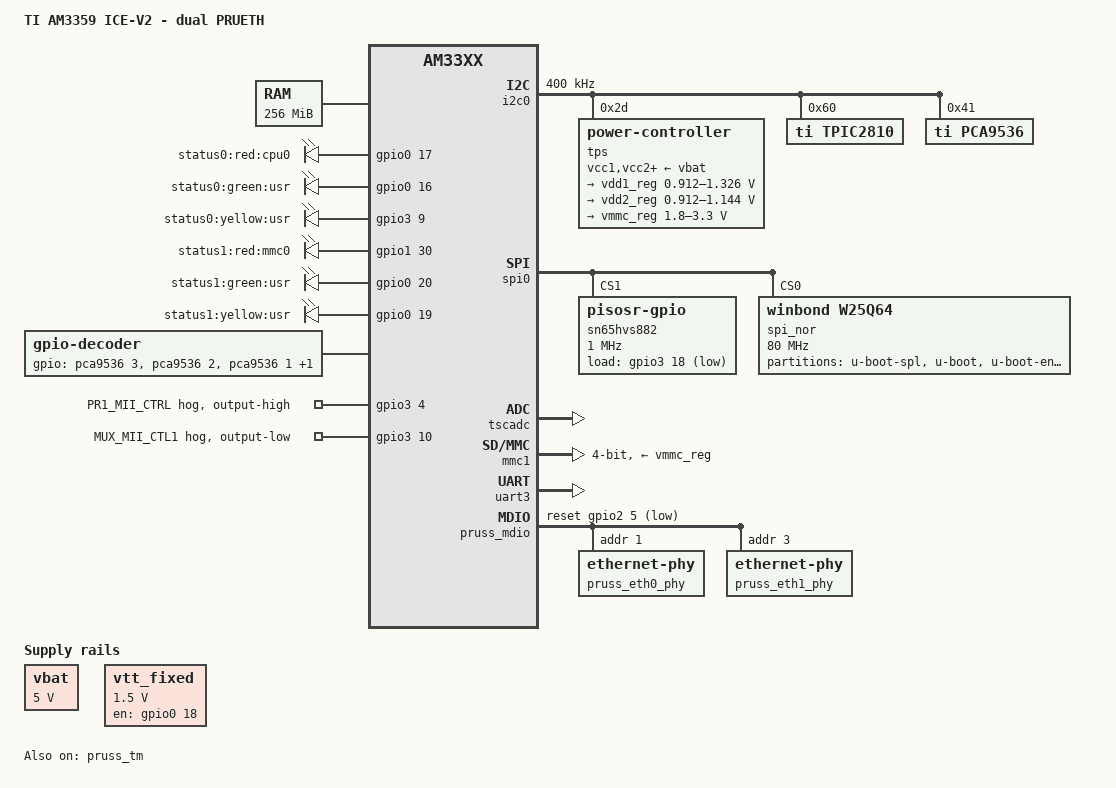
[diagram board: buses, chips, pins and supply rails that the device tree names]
// SPDX-License-Identifier: GPL-2.0

/*
 * Copyright (C) 2018 Texas Instruments Incorporated - http://www.ti.com/
 */

/*
 * AM335x ICE V2 board
 * http://www.ti.com/tool/tmdsice3359
 */

/dts-v1/;

#include "am33xx.dtsi"

/ {
	model = "TI AM3359 ICE-V2 - dual PRUETH";
	compatible = "ti,am3359-icev2", "ti,am33xx";

	memory@80000000 {
		device_type = "memory";
		reg = <0x80000000 0x10000000>; /* 256 MB */
	};

	chosen {
		stdout-path = &uart3;
	};

	vbat: fixedregulator0 {
		compatible = "regulator-fixed";
		regulator-name = "vbat";
		regulator-min-microvolt = <5000000>;
		regulator-max-microvolt = <5000000>;
		regulator-boot-on;
	};

	vtt_fixed: fixedregulator1 {
		compatible = "regulator-fixed";
		regulator-name = "vtt";
		regulator-min-microvolt = <1500000>;
		regulator-max-microvolt = <1500000>;
		gpio = <&gpio0 18 GPIO_ACTIVE_HIGH>;
		regulator-always-on;
		regulator-boot-on;
		enable-active-high;
	};

	/* Tricolor status LEDs */
	leds1 {
		compatible = "gpio-leds";
		pinctrl-names = "default";
		pinctrl-0 = <&user_leds>;

		led0 {
			label = "status0:red:cpu0";
			gpios = <&gpio0 17 GPIO_ACTIVE_HIGH>;
			default-state = "off";
			linux,default-trigger = "cpu0";
		};

		led1 {
			label = "status0:green:usr";
			gpios = <&gpio0 16 GPIO_ACTIVE_HIGH>;
			default-state = "off";
		};

		led2 {
			label = "status0:yellow:usr";
			gpios = <&gpio3 9 GPIO_ACTIVE_HIGH>;
			default-state = "off";
		};

		led3 {
			label = "status1:red:mmc0";
			gpios = <&gpio1 30 GPIO_ACTIVE_HIGH>;
			default-state = "off";
			linux,default-trigger = "mmc0";
		};

		led4 {
			label = "status1:green:usr";
			gpios = <&gpio0 20 GPIO_ACTIVE_HIGH>;
			default-state = "off";
		};

		led5 {
			label = "status1:yellow:usr";
			gpios = <&gpio0 19 GPIO_ACTIVE_HIGH>;
			default-state = "off";
		};
	};

	gpio-decoder {
		compatible = "gpio-decoder";
		gpios = <&pca9536 3 GPIO_ACTIVE_HIGH>,
			<&pca9536 2 GPIO_ACTIVE_HIGH>,
			<&pca9536 1 GPIO_ACTIVE_HIGH>,
			<&pca9536 0 GPIO_ACTIVE_HIGH>;
		linux,axis = <0>; /* ABS_X */
		decoder-max-value = <9>;
	};

	/* Dual-MAC Ethernet application node on PRU-ICSS */
	pruss_eth: pruss-eth {
		compatible = "ti,am3359-prueth";
		ti,prus = <&pru0>, <&pru1>;
		sram = <&ocmcram>;
		ti,mii-rt = <&pruss_mii_rt>;
		ti,iep = <&pruss_iep>;
		ti,ecap = <&pruss_ecap>;
		interrupts = <20 2 2>, <21 3 3>;
		interrupt-names = "rx_hp", "rx_lp";
		interrupt-parent = <&pruss_intc>;

		pinctrl-0 = <&pruss_eth_default>;
		pinctrl-names = "default";

		ethernet-ports {
			#address-cells = <1>;
			#size-cells = <0>;
			pruss_emac0: ethernet-port@0 {
				reg = <0>;
				phy-handle = <&pruss_eth0_phy>;
				phy-mode = "mii";
				interrupts = <20 2 2>, <26 6 6>, <23 6 6>;
				interrupt-names = "rx", "emac_ptp_tx",
								"hsr_ptp_tx";
				/* Filled in by bootloader */
				local-mac-address = [00 00 00 00 00 00];
			};

			pruss_emac1: ethernet-port@1 {
				reg = <1>;
				phy-handle = <&pruss_eth1_phy>;
				phy-mode = "mii";
				interrupts = <21 3 3>, <27 9 7>, <24 9 7>;
				interrupt-names = "rx", "emac_ptp_tx",
								"hsr_ptp_tx";
				/* Filled in by bootloader */
				local-mac-address = [00 00 00 00 00 00];
			};
		};
	};
};

&am33xx_pinmux {
    user_leds: user-leds-pins {
		pinctrl-single,pins = <
			/* (J18) gmii1_txd3.gpio0[16] */
			AM33XX_PADCONF(AM335X_PIN_MII1_TXD3, PIN_OUTPUT,
				       MUX_MODE7)
			 /* (K15) gmii1_txd2.gpio0[17] */
			AM33XX_PADCONF(AM335X_PIN_MII1_TXD2, PIN_OUTPUT,
				       MUX_MODE7)
			/* (A15) xdma_event_intr0.gpio0[19] */
			AM33XX_PADCONF(AM335X_PIN_XDMA_EVENT_INTR0, PIN_OUTPUT,
				       MUX_MODE7)
			/* (D14) xdma_event_intr1.gpio0[20] */
			AM33XX_PADCONF(AM335X_PIN_XDMA_EVENT_INTR1, PIN_OUTPUT,
				       MUX_MODE7)
			/* (U9) gpmc_csn1.gpio1[30] */
			AM33XX_PADCONF(AM335X_PIN_GPMC_CSN1, PIN_OUTPUT,
				       MUX_MODE7)
			/* (K18) gmii1_txclk.gpio3[9] */
			AM33XX_PADCONF(AM335X_PIN_MII1_TX_CLK, PIN_OUTPUT,
				       MUX_MODE7)
		>;
	};

	mmc0_pins_default: mmc0-default-pins {
		pinctrl-single,pins = <
			AM33XX_PADCONF(AM335X_PIN_MMC0_DAT3, PIN_INPUT_PULLUP,
				       MUX_MODE0)
			AM33XX_PADCONF(AM335X_PIN_MMC0_DAT2, PIN_INPUT_PULLUP,
				       MUX_MODE0)
			AM33XX_PADCONF(AM335X_PIN_MMC0_DAT1, PIN_INPUT_PULLUP,
				       MUX_MODE0)
			AM33XX_PADCONF(AM335X_PIN_MMC0_DAT0, PIN_INPUT_PULLUP,
				       MUX_MODE0)
			AM33XX_PADCONF(AM335X_PIN_MMC0_CLK, PIN_INPUT_PULLUP,
				       MUX_MODE0)
			AM33XX_PADCONF(AM335X_PIN_MMC0_CMD, PIN_INPUT_PULLUP,
				       MUX_MODE0)
		>;
	};

	i2c0_pins_default: i2c0-default-pins {
		pinctrl-single,pins = <
			AM33XX_PADCONF(AM335X_PIN_I2C0_SDA, PIN_INPUT,
				       MUX_MODE0)
			AM33XX_PADCONF(AM335X_PIN_I2C0_SCL, PIN_INPUT,
				       MUX_MODE0)
		>;
	};

	spi0_pins_default: spi0-default-pins {
		pinctrl-single,pins = <
			AM33XX_PADCONF(AM335X_PIN_SPI0_SCLK, PIN_INPUT_PULLUP,
				       MUX_MODE0)
			AM33XX_PADCONF(AM335X_PIN_SPI0_D0, PIN_INPUT_PULLUP,
				       MUX_MODE0)
			AM33XX_PADCONF(AM335X_PIN_SPI0_D1, PIN_INPUT_PULLUP,
				       MUX_MODE0)
			AM33XX_PADCONF(AM335X_PIN_SPI0_CS0, PIN_INPUT_PULLUP,
				       MUX_MODE0)
			AM33XX_PADCONF(AM335X_PIN_SPI0_CS1, PIN_INPUT_PULLUP,
				       MUX_MODE0)
			/* (B12) mcasp0_aclkr.gpio3[18] */
			AM33XX_PADCONF(AM335X_PIN_MCASP0_ACLKR,
				       PIN_INPUT_PULLUP,
				       MUX_MODE7)
		>;
	};

	uart3_pins_default: uart3-default-pins {
		pinctrl-single,pins = <
			/* (L17) gmii1_rxd3.uart3_rxd */
			AM33XX_PADCONF(AM335X_PIN_MII1_RXD3, PIN_INPUT_PULLUP,
				       MUX_MODE1)
			/* (L16) gmii1_rxd2.uart3_txd */
			AM33XX_PADCONF(AM335X_PIN_MII1_RXD2, PIN_OUTPUT_PULLUP,
				       MUX_MODE1)
		>;
	};

	pruss_mdio_default: pruss_mdio_default {
		pinctrl-single,pins = <
			/* gpmc_clk.pr1_mdio_mdclk */
			AM33XX_PADCONF(0x88c, PIN_OUTPUT, MUX_MODE5)
			/* gpmc_csn3.pr1_mdio_data */
			AM33XX_PADCONF(0x888, PIN_INPUT, MUX_MODE5)
			/* gpmc_ben0_cle.gpio2_5 */
			AM33XX_PADCONF(0x89c, PIN_INPUT_PULLUP, MUX_MODE7)
			/* disable CPSW MDIO */
			/* mdio_data.gpio0_0 */
			AM33XX_PADCONF(0x948, PIN_INPUT_PULLUP, MUX_MODE7)
			/* mdio_clk.gpio0_1 */
			AM33XX_PADCONF(0x94c, PIN_INPUT_PULLUP, MUX_MODE7)
		>;
	};

	pruss_eth_default: pruss_eth_default {
		pinctrl-single,pins = <
			/* dss_data0.pr1_mii_mt0_clk */
			AM33XX_PADCONF(0x8a0, PIN_INPUT,   MUX_MODE2)
			/* dss_data5.pr1_mii0_txd0 */
			AM33XX_PADCONF(0x8b4, PIN_OUTPUT,  MUX_MODE2)
			/* dss_data4.pr1_mii0_txd1 */
			AM33XX_PADCONF(0x8b0, PIN_OUTPUT,  MUX_MODE2)
			/* dss_data3.pr1_mii0_txd2 */
			AM33XX_PADCONF(0x8ac, PIN_OUTPUT,  MUX_MODE2)
			/* dss_data2.pr1_mii0_txd3 */
			AM33XX_PADCONF(0x8a8, PIN_OUTPUT,  MUX_MODE2)
			/* dss_data11.pr1_mii0_rxd0 */
			AM33XX_PADCONF(0x8cc, PIN_INPUT,   MUX_MODE5)
			/* dss_data10.pr1_mii0_rxd1 */
			AM33XX_PADCONF(0x8c8, PIN_INPUT,   MUX_MODE5)
			/* dss_data9.pr1_mii0_rxd2 */
			AM33XX_PADCONF(0x8c4, PIN_INPUT,   MUX_MODE5)
			/* dss_data8.pr1_mii0_rxd3 */
			AM33XX_PADCONF(0x8c0, PIN_INPUT,   MUX_MODE5)
			/* dss_data1.pr1_mii0_txen */
			AM33XX_PADCONF(0x8a4, PIN_OUTPUT,  MUX_MODE2)
			/* dss_data14.pr1_mii_mr0_clk */
			AM33XX_PADCONF(0x8d8, PIN_INPUT,   MUX_MODE5)
			/* dss_data15.pr1_mii0_rxdv */
			AM33XX_PADCONF(0x8dc, PIN_INPUT,   MUX_MODE5)
			/* dss_data13.pr1_mii0_rxer */
			AM33XX_PADCONF(0x8d4, PIN_INPUT,   MUX_MODE5)
			/* dss_data12.pr1_mii0_rxlink */
			AM33XX_PADCONF(0x8d0, PIN_INPUT,   MUX_MODE5)
			/* dss_pclk.pr1_mii0_crs */
			AM33XX_PADCONF(0x8e8, PIN_INPUT,   MUX_MODE2)

			/* gpmc_a0.pr1_mii_mt1_clk */
			AM33XX_PADCONF(0x840, PIN_INPUT,   MUX_MODE5)
			/* gpmc_a4.pr1_mii1_txd0 */
			AM33XX_PADCONF(0x850, PIN_OUTPUT,  MUX_MODE5)
			/* gpmc_a3.pr1_mii1_txd1 */
			AM33XX_PADCONF(0x84c, PIN_OUTPUT,  MUX_MODE5)
			/* gpmc_a2.pr1_mii1_txd2 */
			AM33XX_PADCONF(0x848, PIN_OUTPUT,  MUX_MODE5)
			/* gpmc_a1.pr1_mii1_txd3 */
			AM33XX_PADCONF(0x844, PIN_OUTPUT,  MUX_MODE5)
			/* gpmc_a8.pr1_mii1_rxd0 */
			AM33XX_PADCONF(0x860, PIN_INPUT,   MUX_MODE5)
			/* gpmc_a7.pr1_mii1_rxd1 */
			AM33XX_PADCONF(0x85c, PIN_INPUT,   MUX_MODE5)
			/* gpmc_a6.pr1_mii1_rxd2 */
			AM33XX_PADCONF(0x858, PIN_INPUT,   MUX_MODE5)
			/* gpmc_a5.pr1_mii1_rxd3 */
			AM33XX_PADCONF(0x854, PIN_INPUT,   MUX_MODE5)
			/* gpmc_wpn.pr1_mii1_txen */
			AM33XX_PADCONF(0x874, PIN_OUTPUT,  MUX_MODE5)
			/* gpmc_a9.pr1_mii_mr1_clk */
			AM33XX_PADCONF(0x864, PIN_INPUT,   MUX_MODE5)
			/* gpmc_a10.pr1_mii1_rxdv */
			AM33XX_PADCONF(0x868, PIN_INPUT,   MUX_MODE5)
			/* gpmc_a11.pr1_mii1_rxer */
			AM33XX_PADCONF(0x86c, PIN_INPUT,   MUX_MODE5)
			/* gpmc_ben1.pr1_mii1_rxlink */
			AM33XX_PADCONF(0x878, PIN_INPUT,   MUX_MODE5)
			/* lcd_ac_bias_en.pr1_mii1_crs */
			AM33XX_PADCONF(0x8ec, PIN_INPUT,   MUX_MODE2)
			/* gpmc_wait0.pr1_mii1_col */
			AM33XX_PADCONF(0x870, PIN_INPUT,   MUX_MODE5)
		>;
	};

};

&i2c0 {
	pinctrl-names = "default";
	pinctrl-0 = <&i2c0_pins_default>;

	status = "okay";
	clock-frequency = <400000>;

	tps: power-controller@2d {
		reg = <0x2d>;
	};

	tpic2810: gpio@60 {
		compatible = "ti,tpic2810";
		reg = <0x60>;
		gpio-controller;
		#gpio-cells = <2>;
	};

	pca9536: gpio@41 {
		compatible = "ti,pca9536";
		reg = <0x41>;
		gpio-controller;
		#gpio-cells = <2>;
	};

};

&spi0 {
	status = "okay";
	pinctrl-names = "default";
	pinctrl-0 = <&spi0_pins_default>;

	sn65hvs882@1 {
		compatible = "pisosr-gpio";
		gpio-controller;
		#gpio-cells = <2>;

		load-gpios = <&gpio3 18 GPIO_ACTIVE_LOW>;

		reg = <1>;
		spi-max-frequency = <1000000>;
		spi-cpol;
	};

	spi_nor: flash@0 {
		#address-cells = <1>;
		#size-cells = <1>;
		compatible = "winbond, w25q64", "jedec,spi-nor";
		spi-max-frequency = <80000000>;
		m25p,fast-read;
		reg = <0>;

		partition@0 {
			label = "u-boot-spl";
			reg = <0x0 0x80000>;
			read-only;
		};

		partition@1 {
			label = "u-boot";
			reg = <0x80000 0x100000>;
			read-only;
		};

		partition@2 {
			label = "u-boot-env";
			reg = <0x180000 0x20000>;
			read-only;
		};

		partition@3 {
			label = "misc";
			reg = <0x1A0000 0x660000>;
		};
	};

};

&tscadc {
	status = "okay";
	adc {
		ti,adc-channels = <1 2 3 4 5 6 7>;
	};
};

#include "../../tps65910.dtsi"

&tps {
	vcc1-supply = <&vbat>;
	vcc2-supply = <&vbat>;
	vcc3-supply = <&vbat>;
	vcc4-supply = <&vbat>;
	vcc5-supply = <&vbat>;
	vcc6-supply = <&vbat>;
	vcc7-supply = <&vbat>;
	vccio-supply = <&vbat>;

	regulators {
		vrtc_reg: regulator@0 {
			regulator-always-on;
		};

		vio_reg: regulator@1 {
			regulator-always-on;
		};

		vdd1_reg: regulator@2 {
			regulator-name = "vdd_mpu";
			regulator-min-microvolt = <912500>;
			regulator-max-microvolt = <1326000>;
			regulator-boot-on;
			regulator-always-on;
		};

		vdd2_reg: regulator@3 {
			regulator-name = "vdd_core";
			regulator-min-microvolt = <912500>;
			regulator-max-microvolt = <1144000>;
			regulator-boot-on;
			regulator-always-on;
		};

		vdd3_reg: regulator@4 {
			regulator-always-on;
		};

		vdig1_reg: regulator@5 {
			regulator-always-on;
		};

		vdig2_reg: regulator@6 {
			regulator-always-on;
		};

		vpll_reg: regulator@7 {
			regulator-always-on;
		};

		vdac_reg: regulator@8 {
			regulator-always-on;
		};

		vaux1_reg: regulator@9 {
			regulator-always-on;
		};

		vaux2_reg: regulator@10 {
			regulator-always-on;
		};

		vaux33_reg: regulator@11 {
			regulator-always-on;
		};

		vmmc_reg: regulator@12 {
			regulator-min-microvolt = <1800000>;
			regulator-max-microvolt = <3300000>;
			regulator-always-on;
		};
	};
};

&mmc1 {
	status = "okay";
	vmmc-supply = <&vmmc_reg>;
	bus-width = <4>;
	pinctrl-names = "default";
	pinctrl-0 = <&mmc0_pins_default>;
};

&gpio0_target {
	/* Do not idle the GPIO used for holding the VTT regulator */
	ti,no-reset-on-init;
	ti,no-idle-on-init;
};

&uart3 {
	pinctrl-names = "default";
	pinctrl-0 = <&uart3_pins_default>;
	status = "okay";
};

&gpio3 {
	pr1-mii-ctl-hog {
		gpio-hog;
		gpios = <4 GPIO_ACTIVE_HIGH>;
		output-high;
		line-name = "PR1_MII_CTRL";
	};

	mux-mii-hog {
		gpio-hog;
		gpios = <10 GPIO_ACTIVE_HIGH>;
		/* ETH1 mux: Low for MII-PRU, high for RMII-CPSW */
		output-low;
		line-name = "MUX_MII_CTL1";
	};
};

&pruss_tm {
	status = "okay";
};

&pruss_mdio {
	pinctrl-0 = <&pruss_mdio_default>;
	pinctrl-names = "default";
	reset-gpios = <&gpio2 5 GPIO_ACTIVE_LOW>;
	reset-delay-us = <2>; /* PHY datasheet states 1uS min */
	status = "okay";

	pruss_eth0_phy: ethernet-phy@1 {
		 reg = <1>;
	};

	pruss_eth1_phy: ethernet-phy@3 {
		 reg = <3>;
	};
};

&rtc {
	system-power-controller;
};
